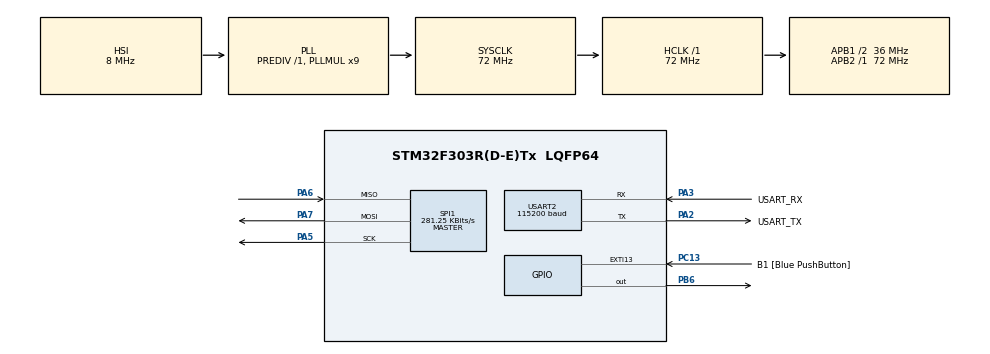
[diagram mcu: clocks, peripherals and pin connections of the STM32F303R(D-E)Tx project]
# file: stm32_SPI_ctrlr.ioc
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Mcu.Family=STM32F3
Mcu.Name=STM32F303R(D-E)Tx
Mcu.Package=LQFP64
NVIC.PriorityGroup=NVIC_PRIORITYGROUP_0
PA13.GPIO_Label=TMS
PA13.Mode=Serial_Wire
PA13.Signal=SYS_JTMS-SWDIO
PA14.GPIO_Label=TCK
PA14.Mode=Serial_Wire
PA14.Signal=SYS_JTCK-SWCLK
PA2.GPIO_Label=USART_TX
PA2.GPIO_Mode=GPIO_MODE_AF_PP
PA2.GPIO_PuPd=GPIO_NOPULL
PA2.GPIO_Speed=GPIO_SPEED_FREQ_LOW
PA2.Mode=Asynchronous
PA2.Signal=USART2_TX
PA3.GPIO_Label=USART_RX
PA3.GPIO_Mode=GPIO_MODE_AF_PP
PA3.GPIO_PuPd=GPIO_NOPULL
PA3.GPIO_Speed=GPIO_SPEED_FREQ_LOW
PA3.Mode=Asynchronous
PA3.Signal=USART2_RX
PA5.Mode=Full_Duplex_Master
PA5.Signal=SPI1_SCK
PA6.Mode=Full_Duplex_Master
PA6.Signal=SPI1_MISO
PA7.Mode=Full_Duplex_Master
PA7.Signal=SPI1_MOSI
PB3.GPIO_Label=SWO
PB3.Signal=SYS_JTDO-TRACESWO
PB6.Signal=GPIO_Output
PC13.GPIO_Label=B1 [Blue PushButton]
PC13.GPIO_ModeDefaultEXTI=GPIO_MODE_IT_FALLING
PC13.Signal=GPXTI13
PC14-OSC32_IN.Mode=LSE-External-Oscillator
PC14-OSC32_IN.Signal=RCC_OSC32_IN
PC15-OSC32_OUT.Mode=LSE-External-Oscillator
PC15-OSC32_OUT.Signal=RCC_OSC32_OUT
PF0-OSC_IN.Mode=HSE-External-Clock-Source
PF0-OSC_IN.Signal=RCC_OSC_IN
PF1-OSC_OUT.Signal=RCC_OSC_OUT
ProjectManager.HeapSize=0x200
ProjectManager.StackSize=0x400
ProjectManager.TargetToolchain=STM32CubeIDE
RCC.AHBFreq_Value=72000000
RCC.APB1CLKDivider=RCC_HCLK_DIV2
RCC.APB1Freq_Value=36000000
RCC.APB1TimFreq_Value=72000000
RCC.APB2Freq_Value=72000000
RCC.APB2TimFreq_Value=72000000
RCC.CortexFreq_Value=72000000
RCC.HCLKFreq_Value=72000000
RCC.HSE_VALUE=8000000
RCC.HSI_VALUE=8000000
RCC.PLLM=8
RCC.PLLMUL=RCC_PLL_MUL9
RCC.PLLN=336
RCC.PLLP=RCC_PLLP_DIV4
RCC.PLLQ=7
RCC.RCC_PLLsource_Clock_Source_FROM_HSE=RCC_HSE_PREDIV_DIV2
RCC.SYSCLKFreq_VALUE=72000000
RCC.SYSCLKSourceVirtual=RCC_SYSCLKSOURCE_PLLCLK
RCC.USBFreq_Value=72000000
SPI1.BaudRatePrescaler=SPI_BAUDRATEPRESCALER_256
SPI1.CalculateBaudRate=281.25 KBits/s
SPI1.DataSize=SPI_DATASIZE_8BIT
SPI1.Direction=SPI_DIRECTION_2LINES
SPI1.Mode=SPI_MODE_MASTER
SPI1.NSSPMode=SPI_NSS_PULSE_DISABLE
SPI1.VirtualType=VM_MASTER
USART2.BaudRate=115200
USART2.VirtualMode-Asynchronous=VM_ASYNC
board=NUCLEO-F303RE

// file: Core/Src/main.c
/* USER CODE BEGIN Header */
/**
  ******************************************************************************
  * @file           : main.c
  * @brief          : Main program body
  ******************************************************************************
  * @attention
  *
  * <h2><center>&copy; Copyright (c) 2021 STMicroelectronics.
  * All rights reserved.</center></h2>
  *
  * This software component is licensed by ST under BSD 3-Clause license,
  * the "License"; You may not use this file except in compliance with the
  * License. You may obtain a copy of the License at:
  *                        opensource.org/licenses/BSD-3-Clause
  *
  ******************************************************************************
  */
/* USER CODE END Header */
#include "main.h"

/* USER CODE BEGIN Includes */
#include <stdio.h>
/* USER CODE END Includes */

SPI_HandleTypeDef hspi1;

UART_HandleTypeDef huart2;

/* USER CODE BEGIN PV */

// Global flags
volatile uint8_t spi_xmit_flag = 0;
volatile uint8_t spi_recv_flag = 0;

/* USER CODE END PV */

void SystemClock_Config(void);
static void MX_GPIO_Init(void);
static void MX_USART2_UART_Init(void);
static void MX_SPI1_Init(void);

/* USER CODE BEGIN 0 */

#define SPI_CTRLR

#define MCP_SPI_1 1
//#define MCP_SPI_3

#ifdef MCP_SPI_1
  #define SPI_SS_PORT  GPIOB
  #define SPI_SS_PIN   GPIO_PIN_6
#endif

// copy n paste code to test ...
// https://controllerstech.com/how-to-use-spi-with-stm32/

void mcp8_write (uint8_t address, uint8_t value)
{
    uint8_t data[2];
    data[0] = address|0x40;  // multibyte write enabled
    data[1] = value;
    HAL_GPIO_WritePin (SPI_SS_PORT, SPI_SS_PIN, GPIO_PIN_RESET); // pull the cs pin low to enable the slave
    HAL_SPI_Transmit (&hspi1, data, 2, 100);  // transmit the address and data
    HAL_GPIO_WritePin (SPI_SS_PORT, SPI_SS_PIN, GPIO_PIN_SET); // pull the cs pin high to disable the slave
}

void mcp8_read(uint8_t address, uint8_t nbr, uint8_t *bufr)
{
    address |= 0x80;  // read operation
    address |= 0x40;  // multibyte read
    HAL_GPIO_WritePin (SPI_SS_PORT, SPI_SS_PIN, GPIO_PIN_RESET);  // pull the cs pin low to enable the slave
    HAL_SPI_Transmit (&hspi1, &address, 1, 100);  // send the address from where you want to read data
    HAL_SPI_Receive (&hspi1, bufr, nbr, 100);  // read n BYTES of data
    HAL_GPIO_WritePin (SPI_SS_PORT, SPI_SS_PIN, GPIO_PIN_SET);  // pull the cs pin high to disable the slave
}

/* USER CODE END 0 */

int main(void)
{
  /* USER CODE BEGIN 1 */
    char uart_out[128] = { '\0' };
    char spi_buf[16];

  /* USER CODE END 1 */

  /* MCU Configuration--------------------------------------------------------*/

  /* Reset of all peripherals, Initializes the Flash interface and the Systick. */
  HAL_Init();

  /* Configure the system clock */
  SystemClock_Config();

  /* Initialize all configured peripherals */
  MX_GPIO_Init();
  MX_USART2_UART_Init();
  MX_SPI1_Init();
  /* USER CODE BEGIN 2 */

#ifdef SPI_CTRLR
    // CS pin should default high
    HAL_GPIO_WritePin(SPI_SS_PORT, SPI_SS_PIN, GPIO_PIN_SET);
#endif
  /* USER CODE END 2 */

  /* Infinite loop */
  while (1)
  {

    /* USER CODE BEGIN 3 */
      static int n = 0;
#ifdef SPI_CTRLR
      sprintf(spi_buf, "abcdefghijklmno"); // junk data for checking if response from peripheral
      mcp8_read(0x32, 4, (uint8_t *)spi_buf);
      n = (n < 126) ? n+1 : 0x30;

      sprintf(uart_out,
              "%d: %02X %02X %02X %02X %02X %02X.\r\n",
              n,
              spi_buf[0], spi_buf[1], spi_buf[2], spi_buf[3], spi_buf[4], spi_buf[5] );

      HAL_UART_Transmit(&huart2, (uint8_t *)uart_out, sizeof(uart_out), 100);

      HAL_Delay (100);   // wait for 100 ms
#else
      uint8_t spi_out[16] = { '\0' };

      sprintf((char *)spi_buf, "RX"); // junk data
      sprintf((char *)spi_out, "ABCDE"); // junk data

      n = (n < 126) ? n+1 : 0x30;
      spi_out[3] = n;

      HAL_SPI_TransmitReceive(&hspi1, (uint8_t *)spi_out,  (uint8_t *)spi_buf, 4, HAL_MAX_DELAY);

// these should be coming in slow enough to print at this time (4/sec)
          sprintf( uart_out,
            ">%d: %02X %02X %02X %02X.\r\n",
              n,
                spi_buf[0], spi_buf[1], spi_buf[2], spi_buf[3]);
          HAL_UART_Transmit(&huart2, (uint8_t *)uart_out, sizeof(uart_out), 100);

#endif
  }
  /* USER CODE END 3 */
}

void SystemClock_Config(void)
{
  RCC_OscInitTypeDef RCC_OscInitStruct = {0};
  RCC_ClkInitTypeDef RCC_ClkInitStruct = {0};
  RCC_PeriphCLKInitTypeDef PeriphClkInit = {0};

  /** Initializes the RCC Oscillators according to the specified parameters
  * in the RCC_OscInitTypeDef structure.
  */
  RCC_OscInitStruct.OscillatorType = RCC_OSCILLATORTYPE_HSI;
  RCC_OscInitStruct.HSIState = RCC_HSI_ON;
  RCC_OscInitStruct.HSICalibrationValue = RCC_HSICALIBRATION_DEFAULT;
  RCC_OscInitStruct.PLL.PLLState = RCC_PLL_ON;
  RCC_OscInitStruct.PLL.PLLSource = RCC_PLLSOURCE_HSI;
  RCC_OscInitStruct.PLL.PLLMUL = RCC_PLL_MUL9;
  RCC_OscInitStruct.PLL.PREDIV = RCC_PREDIV_DIV1;
  if (HAL_RCC_OscConfig(&RCC_OscInitStruct) != HAL_OK)
  {
    Error_Handler();
  }
  /** Initializes the CPU, AHB and APB buses clocks
  */
  RCC_ClkInitStruct.ClockType = RCC_CLOCKTYPE_HCLK|RCC_CLOCKTYPE_SYSCLK
                              |RCC_CLOCKTYPE_PCLK1|RCC_CLOCKTYPE_PCLK2;
  RCC_ClkInitStruct.SYSCLKSource = RCC_SYSCLKSOURCE_PLLCLK;
  RCC_ClkInitStruct.AHBCLKDivider = RCC_SYSCLK_DIV1;
  RCC_ClkInitStruct.APB1CLKDivider = RCC_HCLK_DIV2;
  RCC_ClkInitStruct.APB2CLKDivider = RCC_HCLK_DIV1;

  if (HAL_RCC_ClockConfig(&RCC_ClkInitStruct, FLASH_LATENCY_2) != HAL_OK)
  {
    Error_Handler();
  }
  PeriphClkInit.PeriphClockSelection = RCC_PERIPHCLK_USART2;
  PeriphClkInit.Usart2ClockSelection = RCC_USART2CLKSOURCE_PCLK1;
  if (HAL_RCCEx_PeriphCLKConfig(&PeriphClkInit) != HAL_OK)
  {
    Error_Handler();
  }
}

static void MX_SPI1_Init(void)
{

  /* SPI1 parameter configuration*/
  hspi1.Instance = SPI1;
  hspi1.Init.Mode = SPI_MODE_MASTER;
  hspi1.Init.Direction = SPI_DIRECTION_2LINES;
  hspi1.Init.DataSize = SPI_DATASIZE_8BIT;
  hspi1.Init.CLKPolarity = SPI_POLARITY_LOW;
  hspi1.Init.CLKPhase = SPI_PHASE_1EDGE;
  hspi1.Init.NSS = SPI_NSS_SOFT;
  hspi1.Init.BaudRatePrescaler = SPI_BAUDRATEPRESCALER_32;
  hspi1.Init.FirstBit = SPI_FIRSTBIT_MSB;
  hspi1.Init.TIMode = SPI_TIMODE_DISABLE;
  hspi1.Init.CRCCalculation = SPI_CRCCALCULATION_DISABLE;
  hspi1.Init.CRCPolynomial = 7;
  hspi1.Init.CRCLength = SPI_CRC_LENGTH_DATASIZE;
  hspi1.Init.NSSPMode = SPI_NSS_PULSE_DISABLE;
  if (HAL_SPI_Init(&hspi1) != HAL_OK)
  {
    Error_Handler();
  }

}

static void MX_USART2_UART_Init(void)
{

  huart2.Instance = USART2;
  huart2.Init.BaudRate = 115200;
  huart2.Init.WordLength = UART_WORDLENGTH_8B;
  huart2.Init.StopBits = UART_STOPBITS_1;
  huart2.Init.Parity = UART_PARITY_NONE;
  huart2.Init.Mode = UART_MODE_TX_RX;
  huart2.Init.HwFlowCtl = UART_HWCONTROL_NONE;
  huart2.Init.OverSampling = UART_OVERSAMPLING_16;
  huart2.Init.OneBitSampling = UART_ONE_BIT_SAMPLE_DISABLE;
  huart2.AdvancedInit.AdvFeatureInit = UART_ADVFEATURE_NO_INIT;
  if (HAL_UART_Init(&huart2) != HAL_OK)
  {
    Error_Handler();
  }

}

static void MX_GPIO_Init(void)
{
  GPIO_InitTypeDef GPIO_InitStruct = {0};

  /* GPIO Ports Clock Enable */
  __HAL_RCC_GPIOC_CLK_ENABLE();
  __HAL_RCC_GPIOF_CLK_ENABLE();
  __HAL_RCC_GPIOA_CLK_ENABLE();
  __HAL_RCC_GPIOB_CLK_ENABLE();

  /*Configure GPIO pin Output Level */
  HAL_GPIO_WritePin(GPIOB, GPIO_PIN_6, GPIO_PIN_RESET);

  /*Configure GPIO pin : B1_Pin */
  GPIO_InitStruct.Pin = B1_Pin;
  GPIO_InitStruct.Mode = GPIO_MODE_IT_FALLING;
  GPIO_InitStruct.Pull = GPIO_NOPULL;
  HAL_GPIO_Init(B1_GPIO_Port, &GPIO_InitStruct);

  /*Configure GPIO pin : PB6 */
  GPIO_InitStruct.Pin = GPIO_PIN_6;
  GPIO_InitStruct.Mode = GPIO_MODE_OUTPUT_PP;
  GPIO_InitStruct.Pull = GPIO_NOPULL;
  GPIO_InitStruct.Speed = GPIO_SPEED_FREQ_LOW;
  HAL_GPIO_Init(GPIOB, &GPIO_InitStruct);

}

/* USER CODE BEGIN 4 */

// This is called when SPI transmit is done
void HAL_SPI_TxCpltCallback(SPI_HandleTypeDef *hspi)
{
#ifdef SPI_CTRLR
    // Set CS pin to high and raise flag
    HAL_GPIO_WritePin(GPIOB, GPIO_PIN_6, GPIO_PIN_SET);
#endif
    spi_xmit_flag = 1;
}

// This is called when SPI receive is done
void HAL_SPI_RxCpltCallback(SPI_HandleTypeDef *hspi)
{
#ifdef SPI_CTRLR
    // Set CS pin to high and raise flag
    HAL_GPIO_WritePin(GPIOB, GPIO_PIN_6, GPIO_PIN_SET);
#endif
    spi_recv_flag = 1;
}
/* USER CODE END 4 */

void Error_Handler(void)
{
  __disable_irq();
  while (1)
  {
  }
}

/************************ (C) COPYRIGHT STMicroelectronics *****END OF FILE****/
